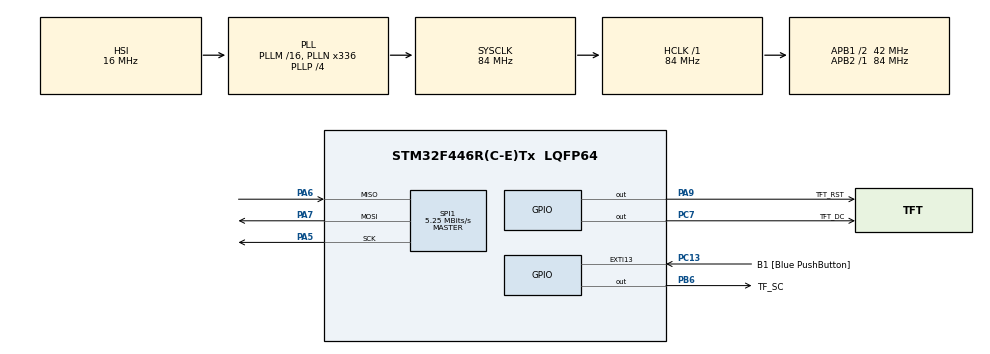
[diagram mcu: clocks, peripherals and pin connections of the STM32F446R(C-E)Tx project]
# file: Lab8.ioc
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Mcu.Family=STM32F4
Mcu.Name=STM32F446R(C-E)Tx
Mcu.Package=LQFP64
NVIC.PriorityGroup=NVIC_PRIORITYGROUP_0
PA13.GPIO_Label=TMS
PA13.Signal=SYS_JTMS-SWDIO
PA14.GPIO_Label=TCK
PA14.Signal=SYS_JTCK-SWCLK
PA2.GPIO_Label=USART_TX
PA2.Signal=USART2_TX
PA3.GPIO_Label=USART_RX
PA3.Signal=USART2_RX
PA5.Mode=Full_Duplex_Master
PA5.Signal=SPI1_SCK
PA6.Mode=Full_Duplex_Master
PA6.Signal=SPI1_MISO
PA7.Mode=Full_Duplex_Master
PA7.Signal=SPI1_MOSI
PA9.GPIO_Label=TFT_RST
PA9.PinState=GPIO_PIN_SET
PA9.Signal=GPIO_Output
PB3.GPIO_Label=SWO
PB3.Signal=SYS_JTDO-SWO
PB6.GPIO_Label=TF_SC
PB6.PinState=GPIO_PIN_SET
PB6.Signal=GPIO_Output
PC13.GPIO_Label=B1 [Blue PushButton]
PC13.GPIO_ModeDefaultEXTI=GPIO_MODE_IT_FALLING
PC13.Signal=GPXTI13
PC14-OSC32_IN.Signal=RCC_OSC32_IN
PC15-OSC32_OUT.Signal=RCC_OSC32_OUT
PC7.GPIO_Label=TFT_DC
PC7.PinState=GPIO_PIN_SET
PC7.Signal=GPIO_Output
PH0-OSC_IN.Signal=RCC_OSC_IN
PH1-OSC_OUT.Signal=RCC_OSC_OUT
ProjectManager.HeapSize=0x200
ProjectManager.StackSize=0x400
ProjectManager.TargetToolchain=STM32CubeIDE
RCC.AHBFreq_Value=84000000
RCC.APB1CLKDivider=RCC_HCLK_DIV2
RCC.APB1Freq_Value=42000000
RCC.APB1TimFreq_Value=84000000
RCC.APB2Freq_Value=84000000
RCC.APB2TimFreq_Value=84000000
RCC.CortexFreq_Value=84000000
RCC.FLatency-AdvancedSettings=FLASH_LATENCY_2
RCC.HCLKFreq_Value=84000000
RCC.HSE_VALUE=8000000
RCC.HSI_VALUE=16000000
RCC.LSE_VALUE=32768
RCC.PLLN=336
RCC.PLLP=RCC_PLLP_DIV4
RCC.SYSCLKFreq_VALUE=84000000
RCC.SYSCLKSource=RCC_SYSCLKSOURCE_PLLCLK
RCC.USBFreq_Value=168000000
RCC.VCOOutputFreq_Value=336000000
SPI1.BaudRatePrescaler=SPI_BAUDRATEPRESCALER_16
SPI1.CalculateBaudRate=5.25 MBits/s
SPI1.Direction=SPI_DIRECTION_2LINES
SPI1.Mode=SPI_MODE_MASTER
SPI1.VirtualType=VM_MASTER
board=NUCLEO-F446RE

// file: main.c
/* USER CODE BEGIN Header */
/**
  ******************************************************************************
  * Universidad del Valle
  * Camila Tello 24404
  * Laboratorio 8
  * Electronica Digital 2
  *
  * @file
  * @brief
  *
  ******************************************************************************
  * @attention
  *
  * Copyright (c) 2026 STMicroelectronics.
  * All rights reserved.
  *
  * This software is licensed under terms that can be found in the LICENSE file
  * in the root directory of this software component.
  * If no LICENSE file comes with this software, it is provided AS-IS.
  *
  ******************************************************************************
  */
/* USER CODE END Header */

#include "main.h"

/* USER CODE BEGIN PTD */

/* Dibujo de cada letra: 5 columnas y 7 filas. */
typedef struct
{
  char letra;
  uint8_t columnas[5];
} TFT_Letra;

/* USER CODE END PTD */

/* USER CODE BEGIN PD */

/* Dimensiones de la pantalla vertical. */
#define TFT_ANCHO        240
#define TFT_ALTO         320

/* Colores RGB565. */
#define CELESTE          0x7EFC
#define NEGRO            0x0000
#define ROJO             0xF800

/* Girar 180 grados respecto a la primera version. */
#define TFT_ORIENTACION  0x88

/* USER CODE END PD */

SPI_HandleTypeDef hspi1;

/* USER CODE BEGIN PV */

/* Caracteres necesarios para el titulo y los 72 BPM. */
static const TFT_Letra fuente[] = {
  {' ', {0x00, 0x00, 0x00, 0x00, 0x00}},
  {'2', {0x42, 0x61, 0x51, 0x49, 0x46}},
  {'7', {0x01, 0x71, 0x09, 0x05, 0x03}},
  {'A', {0x7E, 0x11, 0x11, 0x11, 0x7E}},
  {'B', {0x7F, 0x49, 0x49, 0x49, 0x36}},
  {'C', {0x3E, 0x41, 0x41, 0x41, 0x22}},
  {'D', {0x7F, 0x41, 0x41, 0x22, 0x1C}},
  {'I', {0x00, 0x41, 0x7F, 0x41, 0x00}},
  {'M', {0x7F, 0x02, 0x0C, 0x02, 0x7F}},
  {'N', {0x7F, 0x04, 0x08, 0x10, 0x7F}},
  {'O', {0x3E, 0x41, 0x41, 0x41, 0x3E}},
  {'P', {0x7F, 0x09, 0x09, 0x09, 0x06}},
  {'R', {0x7F, 0x09, 0x19, 0x29, 0x46}},
  {'T', {0x01, 0x01, 0x7F, 0x01, 0x01}}
};

/* Corazon 8x8
   El fondo celeste */
static const uint16_t corazon[8][8] = {
  {CELESTE, ROJO,    ROJO,    CELESTE, CELESTE, ROJO,    ROJO,    CELESTE},
  {ROJO,    ROJO,    ROJO,    ROJO,    ROJO,    ROJO,    ROJO,    ROJO},
  {ROJO,    ROJO,    ROJO,    ROJO,    ROJO,    ROJO,    ROJO,    ROJO},
  {ROJO,    ROJO,    ROJO,    ROJO,    ROJO,    ROJO,    ROJO,    ROJO},
  {CELESTE, ROJO,    ROJO,    ROJO,    ROJO,    ROJO,    ROJO,    CELESTE},
  {CELESTE, CELESTE, ROJO,    ROJO,    ROJO,    ROJO,    CELESTE, CELESTE},
  {CELESTE, CELESTE, CELESTE, ROJO,    ROJO,    CELESTE, CELESTE, CELESTE},
  {CELESTE, CELESTE, CELESTE, ROJO,    ROJO,    CELESTE, CELESTE, CELESTE}
};

/* USER CODE END PV */

void SystemClock_Config(void);
static void MX_GPIO_Init(void);
static void MX_SPI1_Init(void);
/* USER CODE BEGIN PFP */

static void TFT_Enviar(uint8_t *datos, uint16_t cantidad);
static void TFT_Comando(uint8_t comando);
static void TFT_Datos(const uint8_t *datos, uint16_t cantidad);
static void TFT_Registro(uint8_t comando,
                         const uint8_t *datos,
                         uint16_t cantidad);
static void TFT_Init(void);
static void TFT_Ventana(uint16_t x1, uint16_t y1,
                        uint16_t x2, uint16_t y2);
static void TFT_Relleno(uint16_t x, uint16_t y,
                        uint16_t ancho, uint16_t alto,
                        uint16_t color);
static void TFT_Texto(uint16_t x, uint16_t y,
                      const char *texto, uint8_t escala,
                      uint16_t color);
static void TFT_Corazon(uint16_t x, uint16_t y);
static void Mostrar_Monitor(void);

/* USER CODE END PFP */

int main(void)
{

  /* MCU Configuration--------------------------------------------------------*/

  /* Reset of all peripherals, Initializes the Flash interface and the Systick. */
  HAL_Init();

  /* Configure the system clock */
  SystemClock_Config();

  /* Initialize all configured peripherals */
  MX_GPIO_Init();
  MX_SPI1_Init();
  /* USER CODE BEGIN 2 */

  /* Inicializar y dibujar la pantalla una sola vez. */
  TFT_Init();
  Mostrar_Monitor();

  /* USER CODE END 2 */

  /* Infinite loop */
  while (1)
  {

    /* USER CODE BEGIN 3 */

    /* El diseño permanece fijo en pantalla. */
  }
  /* USER CODE END 3 */
}

void SystemClock_Config(void)
{
  RCC_OscInitTypeDef RCC_OscInitStruct = {0};
  RCC_ClkInitTypeDef RCC_ClkInitStruct = {0};

  /** Configure the main internal regulator output voltage
  */
  __HAL_RCC_PWR_CLK_ENABLE();
  __HAL_PWR_VOLTAGESCALING_CONFIG(PWR_REGULATOR_VOLTAGE_SCALE3);

  /** Initializes the RCC Oscillators according to the specified parameters
  * in the RCC_OscInitTypeDef structure.
  */
  RCC_OscInitStruct.OscillatorType = RCC_OSCILLATORTYPE_HSI;
  RCC_OscInitStruct.HSIState = RCC_HSI_ON;
  RCC_OscInitStruct.HSICalibrationValue = RCC_HSICALIBRATION_DEFAULT;
  RCC_OscInitStruct.PLL.PLLState = RCC_PLL_ON;
  RCC_OscInitStruct.PLL.PLLSource = RCC_PLLSOURCE_HSI;
  RCC_OscInitStruct.PLL.PLLM = 16;
  RCC_OscInitStruct.PLL.PLLN = 336;
  RCC_OscInitStruct.PLL.PLLP = RCC_PLLP_DIV4;
  RCC_OscInitStruct.PLL.PLLQ = 2;
  RCC_OscInitStruct.PLL.PLLR = 2;
  if (HAL_RCC_OscConfig(&RCC_OscInitStruct) != HAL_OK)
  {
    Error_Handler();
  }

  /** Initializes the CPU, AHB and APB buses clocks
  */
  RCC_ClkInitStruct.ClockType = RCC_CLOCKTYPE_HCLK|RCC_CLOCKTYPE_SYSCLK
                              |RCC_CLOCKTYPE_PCLK1|RCC_CLOCKTYPE_PCLK2;
  RCC_ClkInitStruct.SYSCLKSource = RCC_SYSCLKSOURCE_PLLCLK;
  RCC_ClkInitStruct.AHBCLKDivider = RCC_SYSCLK_DIV1;
  RCC_ClkInitStruct.APB1CLKDivider = RCC_HCLK_DIV2;
  RCC_ClkInitStruct.APB2CLKDivider = RCC_HCLK_DIV1;

  if (HAL_RCC_ClockConfig(&RCC_ClkInitStruct, FLASH_LATENCY_2) != HAL_OK)
  {
    Error_Handler();
  }
}

static void MX_SPI1_Init(void)
{

  /* SPI1 parameter configuration*/
  hspi1.Instance = SPI1;
  hspi1.Init.Mode = SPI_MODE_MASTER;
  hspi1.Init.Direction = SPI_DIRECTION_2LINES;
  hspi1.Init.DataSize = SPI_DATASIZE_8BIT;
  hspi1.Init.CLKPolarity = SPI_POLARITY_LOW;
  hspi1.Init.CLKPhase = SPI_PHASE_1EDGE;
  hspi1.Init.NSS = SPI_NSS_SOFT;
  hspi1.Init.BaudRatePrescaler = SPI_BAUDRATEPRESCALER_16;
  hspi1.Init.FirstBit = SPI_FIRSTBIT_MSB;
  hspi1.Init.TIMode = SPI_TIMODE_DISABLE;
  hspi1.Init.CRCCalculation = SPI_CRCCALCULATION_DISABLE;
  hspi1.Init.CRCPolynomial = 10;
  if (HAL_SPI_Init(&hspi1) != HAL_OK)
  {
    Error_Handler();
  }

}

static void MX_GPIO_Init(void)
{
  GPIO_InitTypeDef GPIO_InitStruct = {0};

  /* GPIO Ports Clock Enable */
  __HAL_RCC_GPIOC_CLK_ENABLE();
  __HAL_RCC_GPIOH_CLK_ENABLE();
  __HAL_RCC_GPIOA_CLK_ENABLE();
  __HAL_RCC_GPIOB_CLK_ENABLE();

  /*Configure GPIO pin Output Level */
  HAL_GPIO_WritePin(TFT_DC_GPIO_Port, TFT_DC_Pin, GPIO_PIN_SET);

  /*Configure GPIO pin Output Level */
  HAL_GPIO_WritePin(TFT_RST_GPIO_Port, TFT_RST_Pin, GPIO_PIN_SET);

  /*Configure GPIO pin Output Level */
  HAL_GPIO_WritePin(TF_SC_GPIO_Port, TF_SC_Pin, GPIO_PIN_SET);

  /*Configure GPIO pin : B1_Pin */
  GPIO_InitStruct.Pin = B1_Pin;
  GPIO_InitStruct.Mode = GPIO_MODE_IT_FALLING;
  GPIO_InitStruct.Pull = GPIO_NOPULL;
  HAL_GPIO_Init(B1_GPIO_Port, &GPIO_InitStruct);

  /*Configure GPIO pins : USART_TX_Pin USART_RX_Pin */
  GPIO_InitStruct.Pin = USART_TX_Pin|USART_RX_Pin;
  GPIO_InitStruct.Mode = GPIO_MODE_AF_PP;
  GPIO_InitStruct.Pull = GPIO_NOPULL;
  GPIO_InitStruct.Speed = GPIO_SPEED_FREQ_VERY_HIGH;
  GPIO_InitStruct.Alternate = GPIO_AF7_USART2;
  HAL_GPIO_Init(GPIOA, &GPIO_InitStruct);

  /*Configure GPIO pin : TFT_DC_Pin */
  GPIO_InitStruct.Pin = TFT_DC_Pin;
  GPIO_InitStruct.Mode = GPIO_MODE_OUTPUT_PP;
  GPIO_InitStruct.Pull = GPIO_NOPULL;
  GPIO_InitStruct.Speed = GPIO_SPEED_FREQ_LOW;
  HAL_GPIO_Init(TFT_DC_GPIO_Port, &GPIO_InitStruct);

  /*Configure GPIO pin : TFT_RST_Pin */
  GPIO_InitStruct.Pin = TFT_RST_Pin;
  GPIO_InitStruct.Mode = GPIO_MODE_OUTPUT_PP;
  GPIO_InitStruct.Pull = GPIO_NOPULL;
  GPIO_InitStruct.Speed = GPIO_SPEED_FREQ_LOW;
  HAL_GPIO_Init(TFT_RST_GPIO_Port, &GPIO_InitStruct);

  /*Configure GPIO pin : TF_SC_Pin */
  GPIO_InitStruct.Pin = TF_SC_Pin;
  GPIO_InitStruct.Mode = GPIO_MODE_OUTPUT_PP;
  GPIO_InitStruct.Pull = GPIO_NOPULL;
  GPIO_InitStruct.Speed = GPIO_SPEED_FREQ_LOW;
  HAL_GPIO_Init(TF_SC_GPIO_Port, &GPIO_InitStruct);

}

/* USER CODE BEGIN 4 */

/* Enviar bytes a la pantalla utilizando SPI1. */
static void TFT_Enviar(uint8_t *datos, uint16_t cantidad)
{
  if (HAL_SPI_Transmit(&hspi1, datos, cantidad, 1000) != HAL_OK)
  {
    Error_Handler();
  }
}

/* DC bajo indica que enviamos una instruccion.
   CS bajo selecciona la pantalla. */
static void TFT_Comando(uint8_t comando)
{
  HAL_GPIO_WritePin(TF_SC_GPIO_Port, TF_SC_Pin, GPIO_PIN_RESET);
  HAL_GPIO_WritePin(TFT_DC_GPIO_Port, TFT_DC_Pin, GPIO_PIN_RESET);

  TFT_Enviar(&comando, 1);

  HAL_GPIO_WritePin(TF_SC_GPIO_Port, TF_SC_Pin, GPIO_PIN_SET);
}

/* DC alto indica que enviamos parametros o colores. */
static void TFT_Datos(const uint8_t *datos, uint16_t cantidad)
{
  HAL_GPIO_WritePin(TF_SC_GPIO_Port, TF_SC_Pin, GPIO_PIN_RESET);
  HAL_GPIO_WritePin(TFT_DC_GPIO_Port, TFT_DC_Pin, GPIO_PIN_SET);

  TFT_Enviar((uint8_t *)datos, cantidad);

  HAL_GPIO_WritePin(TF_SC_GPIO_Port, TF_SC_Pin, GPIO_PIN_SET);
}

/* Enviar una instruccion seguida de sus parametros. */
static void TFT_Registro(uint8_t comando,
                         const uint8_t *datos,
                         uint16_t cantidad)
{
  TFT_Comando(comando);

  if (cantidad > 0)
  {
    TFT_Datos(datos, cantidad);
  }
}

/* Preparar el controlador ILI9341. */
static void TFT_Init(void)
{
  HAL_GPIO_WritePin(TF_SC_GPIO_Port, TF_SC_Pin, GPIO_PIN_SET);
  HAL_GPIO_WritePin(TFT_DC_GPIO_Port, TFT_DC_Pin, GPIO_PIN_SET);

  /* Reiniciar la pantalla mediante su pin RESET. */
  HAL_GPIO_WritePin(TFT_RST_GPIO_Port, TFT_RST_Pin, GPIO_PIN_SET);
  HAL_Delay(10);
  HAL_GPIO_WritePin(TFT_RST_GPIO_Port, TFT_RST_Pin, GPIO_PIN_RESET);
  HAL_Delay(20);
  HAL_GPIO_WritePin(TFT_RST_GPIO_Port, TFT_RST_Pin, GPIO_PIN_SET);
  HAL_Delay(150);

  /* Reinicio por software. */
  TFT_Comando(0x01);
  HAL_Delay(150);

  /* Ajustes internos del controlador. */
  const uint8_t powerB[] = {0x00, 0xC1, 0x30};
  const uint8_t powerSeq[] = {0x64, 0x03, 0x12, 0x81};
  const uint8_t timingA[] = {0x85, 0x00, 0x78};
  const uint8_t powerA[] = {0x39, 0x2C, 0x00, 0x34, 0x02};
  const uint8_t pump[] = {0x20};
  const uint8_t timingB[] = {0x00, 0x00};

  const uint8_t power1[] = {0x23};
  const uint8_t power2[] = {0x10};
  const uint8_t vcom1[] = {0x3E, 0x28};
  const uint8_t vcom2[] = {0x86};

  /* Orientacion corregida y colores de 16 bits. */
  const uint8_t orientacion[] = {TFT_ORIENTACION};
  const uint8_t formato[] = {0x55};

  const uint8_t frame[] = {0x00, 0x18};
  const uint8_t display[] = {0x08, 0x82, 0x27};
  const uint8_t gammaOff[] = {0x00};
  const uint8_t gammaSel[] = {0x01};

  /* Ajustes de los tonos de color. */
  const uint8_t gammaP[] = {
    0x0F, 0x31, 0x2B, 0x0C, 0x0E,
    0x08, 0x4E, 0xF1, 0x37, 0x07,
    0x10, 0x03, 0x0E, 0x09, 0x00
  };

  const uint8_t gammaN[] = {
    0x00, 0x0E, 0x14, 0x03, 0x11,
    0x07, 0x31, 0xC1, 0x48, 0x08,
    0x0F, 0x0C, 0x31, 0x36, 0x0F
  };

  TFT_Registro(0xCF, powerB, sizeof(powerB));
  TFT_Registro(0xED, powerSeq, sizeof(powerSeq));
  TFT_Registro(0xE8, timingA, sizeof(timingA));
  TFT_Registro(0xCB, powerA, sizeof(powerA));
  TFT_Registro(0xF7, pump, sizeof(pump));
  TFT_Registro(0xEA, timingB, sizeof(timingB));

  TFT_Registro(0xC0, power1, sizeof(power1));
  TFT_Registro(0xC1, power2, sizeof(power2));
  TFT_Registro(0xC5, vcom1, sizeof(vcom1));
  TFT_Registro(0xC7, vcom2, sizeof(vcom2));

  TFT_Registro(0x36, orientacion, sizeof(orientacion));
  TFT_Registro(0x3A, formato, sizeof(formato));

  TFT_Registro(0xB1, frame, sizeof(frame));
  TFT_Registro(0xB6, display, sizeof(display));

  TFT_Registro(0xF2, gammaOff, sizeof(gammaOff));
  TFT_Registro(0x26, gammaSel, sizeof(gammaSel));
  TFT_Registro(0xE0, gammaP, sizeof(gammaP));
  TFT_Registro(0xE1, gammaN, sizeof(gammaN));

  /* Salir del reposo y activar la imagen. */
  TFT_Comando(0x11);
  HAL_Delay(150);
  TFT_Comando(0x29);
  HAL_Delay(20);
}

/* Seleccionar el area donde se pintaran los pixeles. */
static void TFT_Ventana(uint16_t x1, uint16_t y1,
                        uint16_t x2, uint16_t y2)
{
  uint8_t datos[4];

  /* Columnas inicial y final. */
  datos[0] = x1 >> 8;
  datos[1] = x1 & 0xFF;
  datos[2] = x2 >> 8;
  datos[3] = x2 & 0xFF;
  TFT_Registro(0x2A, datos, 4);

  /* Filas inicial y final. */
  datos[0] = y1 >> 8;
  datos[1] = y1 & 0xFF;
  datos[2] = y2 >> 8;
  datos[3] = y2 & 0xFF;
  TFT_Registro(0x2B, datos, 4);

  /* Iniciar escritura de pixeles. */
  TFT_Comando(0x2C);
}

/* Dibujar un rectangulo de un color.
   x, y: posicion.
   ancho, alto: tamaño en pixeles. */
static void TFT_Relleno(uint16_t x, uint16_t y,
                        uint16_t ancho, uint16_t alto,
                        uint16_t color)
{
  uint8_t buffer[128];
  uint32_t restantes;

  /* Evitar dibujar fuera de la pantalla. */
  if (x >= TFT_ANCHO || y >= TFT_ALTO ||
      ancho == 0 || alto == 0)
  {
    return;
  }

  if (ancho > TFT_ANCHO - x)
  {
    ancho = TFT_ANCHO - x;
  }

  if (alto > TFT_ALTO - y)
  {
    alto = TFT_ALTO - y;
  }

  TFT_Ventana(x, y, x + ancho - 1, y + alto - 1);

  /* Cada pixel ocupa dos bytes. */
  for (uint16_t i = 0; i < sizeof(buffer); i += 2)
  {
    buffer[i] = color >> 8;
    buffer[i + 1] = color & 0xFF;
  }

  restantes = (uint32_t)ancho * alto;

  HAL_GPIO_WritePin(TF_SC_GPIO_Port, TF_SC_Pin, GPIO_PIN_RESET);
  HAL_GPIO_WritePin(TFT_DC_GPIO_Port, TFT_DC_Pin, GPIO_PIN_SET);

  /* Enviar bloques de hasta 64 pixeles. */
  while (restantes > 0)
  {
    uint16_t pixeles;

    if (restantes > 64)
    {
      pixeles = 64;
    }
    else
    {
      pixeles = (uint16_t)restantes;
    }

    TFT_Enviar(buffer, pixeles * 2);
    restantes -= pixeles;
  }

  HAL_GPIO_WritePin(TF_SC_GPIO_Port, TF_SC_Pin, GPIO_PIN_SET);
}

/* Dibujar texto con el tamaño y color seleccionados.
   escala amplifica cada punto de la letra. */
static void TFT_Texto(uint16_t x, uint16_t y,
                      const char *texto, uint8_t escala,
                      uint16_t color)
{
  while (*texto != '\0')
  {
    const uint8_t *columnas = fuente[0].columnas;

    /* Buscar el dibujo del caracter actual. */
    for (uint32_t i = 0;
         i < sizeof(fuente) / sizeof(fuente[0]); i++)
    {
      if (fuente[i].letra == *texto)
      {
        columnas = fuente[i].columnas;
        break;
      }
    }

    /* Pintar los puntos que tienen un bit en 1. */
    for (uint8_t col = 0; col < 5; col++)
    {
      for (uint8_t fila = 0; fila < 7; fila++)
      {
        if (columnas[col] & (1U << fila))
        {
          TFT_Relleno(x + col * escala,
                      y + fila * escala,
                      escala, escala, color);
        }
      }
    }

    /* Avanzar al siguiente caracter. */
    x += 6 * escala;
    texto++;
  }
}

/* Dibujar el corazon original.
   Cada punto del arreglo se amplia a 6x6 pixeles.
   El tamaño final es de 48x48 pixeles. */
static void TFT_Corazon(uint16_t x, uint16_t y)
{
  for (uint8_t fila = 0; fila < 8; fila++)
  {
    for (uint8_t col = 0; col < 8; col++)
    {
      TFT_Relleno(x + col * 6,
                  y + fila * 6,
                  6, 6,
                  corazon[fila][col]);
    }
  }
}

/* Organizar el diseño completo de la pantalla. */
static void Mostrar_Monitor(void)
{
	 /* Fondo celeste. */
	  TFT_Relleno(0, 0, TFT_ANCHO, TFT_ALTO, CELESTE);

	  /* Marco negro. */
	  TFT_Relleno(5, 5, 230, 2, NEGRO);
	  TFT_Relleno(5, 313, 230, 2, NEGRO);
	  TFT_Relleno(5, 5, 2, 310, NEGRO);
	  TFT_Relleno(233, 5, 2, 310, NEGRO);

	  /* Titulo en dos lineas. */
	  TFT_Texto(36, 25, "MONITOR", 4, NEGRO);
	  TFT_Texto(24, 65, "CARDIACO", 4, NEGRO);

	  /* Estrellita izquierda: brillo de cuatro puntas. */
	  TFT_Relleno(78, 101, 2, 12, NEGRO);
	  TFT_Relleno(73, 106, 12, 2, NEGRO);
	  TFT_Relleno(76, 104, 6, 6, NEGRO);

	  /* Estrellita central, un poco mas arriba. */
	  TFT_Relleno(119, 91, 2, 14, NEGRO);
	  TFT_Relleno(113, 97, 14, 2, NEGRO);
	  TFT_Relleno(117, 95, 6, 6, NEGRO);

	  /* Estrellita derecha. */
	  TFT_Relleno(160, 101, 2, 12, NEGRO);
	  TFT_Relleno(155, 106, 12, 2, NEGRO);
	  TFT_Relleno(158, 104, 6, 6, NEGRO);

	  /* Corazon rojo centrado. */
	  TFT_Corazon(96, 115);

	  /* Valor fijo y unidad. */
	  TFT_Texto(30, 180, "72", 9, NEGRO);
	  TFT_Texto(150, 209, "BPM", 3, NEGRO);
	}

/* USER CODE END 4 */

void Error_Handler(void)
{
  /* USER CODE BEGIN Error_Handler_Debug */

  /* Detener el programa si ocurre un error. */
  __disable_irq();
  while (1)
  {
  }

  /* USER CODE END Error_Handler_Debug */
}
